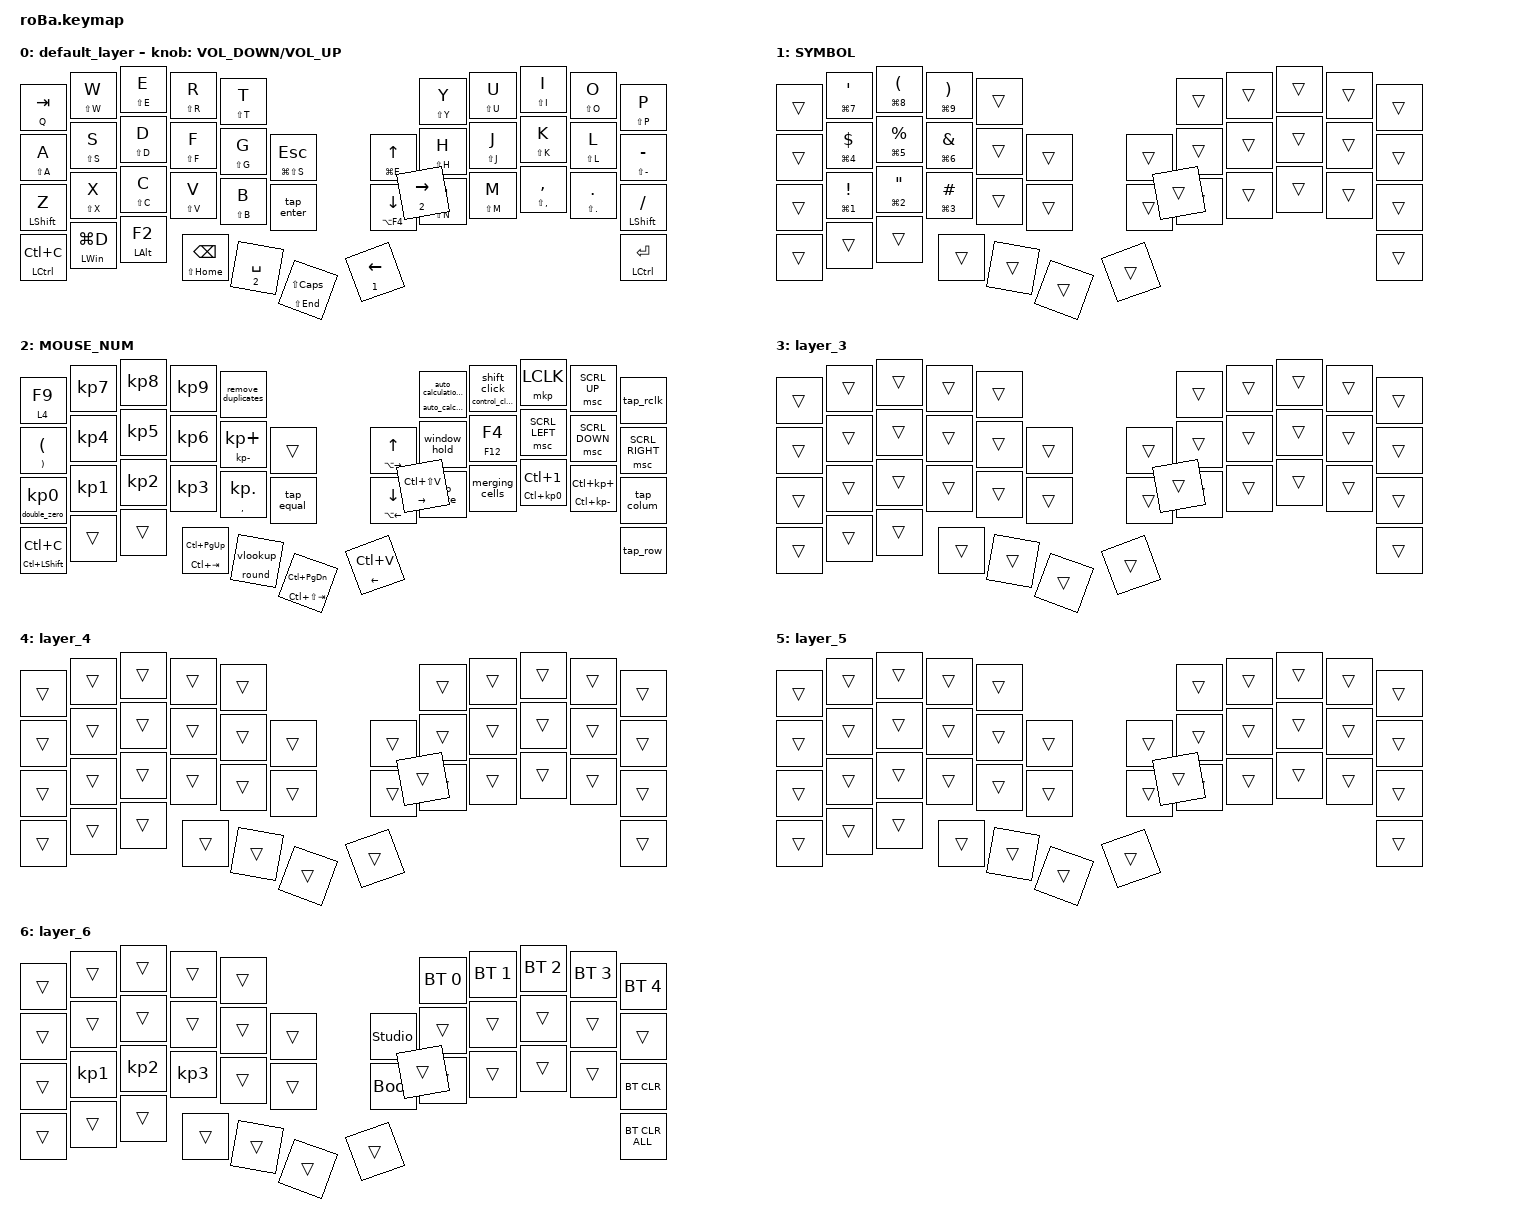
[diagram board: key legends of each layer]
#define ZMK_POINTING_DEFAULT_SCRL_VAL 40

#include <dt-bindings/zmk/mouse.h>
#include <input/processors.dtsi>
#include <behaviors.dtsi>
#include <dt-bindings/zmk/bt.h>
#include <dt-bindings/zmk/keys.h>
#include <dt-bindings/zmk/pointing.h>

#define MOUSE 3
#define SCROLL 4

&mt {
    flavor = "balanced";
    quick-tap-ms = <200>;
    tapping-term-ms = <400>;
};

/ {
    combos {
        compatible = "zmk,combos";

        delete {
            bindings = <&mt_exit_AML_on_hold BACKSPACE DELETE>;
            key-positions = <8 9>;
            layers = <0 2 1>;
        };

        language {
            bindings = <&mt LA(LS(CAPSLOCK)) LS(CAPSLOCK)>;
            key-positions = <0 1>;
            layers = <0 1>;
        };

        f7 {
            bindings = <&kp F7>;
            key-positions = <8 7 9>;
            layers = <0>;
        };

        backslash {
            bindings = <&mt LS(BACKSLASH) BACKSLASH>;
            key-positions = <8 7>;
            layers = <0>;
        };

        at_tilde {
            bindings = <&mt TILDE AT_SIGN>;
            key-positions = <20 19>;
            layers = <0>;
        };

        left_bracket {
            bindings = <&mt LS(LEFT_BRACKET) LEFT_BRACKET>;
            key-positions = <20 21>;
            layers = <0>;
        };

        right_braclet {
            bindings = <&mt LS(RIGHT_BRACKET) RIGHT_BRACKET>;
            key-positions = <32 33>;
            layers = <0>;
        };

        colom_semi {
            bindings = <&mt SEMICOLON COLON>;
            key-positions = <32 31>;
            layers = <0>;
        };

        num_slash {
            bindings = <&kp KP_SLASH>;
            key-positions = <1 2>;
            layers = <2>;
        };

        num_asterisk {
            bindings = <&kp KP_ASTERISK>;
            key-positions = <3 2>;
            layers = <2>;
        };

        num_numlock {
            bindings = <&mt KP_NUMLOCK DELETE>;
            key-positions = <1 0>;
            layers = <2>;
        };
    };

    macros {
        to_layer_0: to_layer_0 {
            compatible = "zmk,behavior-macro-one-param";
            #binding-cells = <1>;
            bindings = <&to 0 &macro_param_1to1 &kp MACRO_PLACEHOLDER>;
            label = "TO_LAYER_0";
        };

        exit_AML: exit_AML {
            compatible = "zmk,behavior-macro";
            wait-ms = <0>;
            tap-ms = <0>;
            #binding-cells = <0>;
            bindings = <&tog_off MOUSE>;
            label = "exit_AML";
        };

        kp_exit_AML: kp_exit_AML {
            compatible = "zmk,behavior-macro-one-param";
            wait-ms = <0>;
            tap-ms = <0>;
            #binding-cells = <1>;
            bindings = <&macro_param_1to1 &kp MACRO_PLACEHOLDER &exit_AML>;
            label = "KP_exit_AML";
        };

        mod_exit_AML: mod_exit_AML {
            compatible = "zmk,behavior-macro-one-param";
            wait-ms = <0>;
            tap-ms = <0>;
            #binding-cells = <1>;
            bindings =
                <&macro_press>,
                <&macro_param_1to1 &kp MACRO_PLACEHOLDER>,
                <&macro_tap>,
                <&exit_AML>,
                <&macro_pause_for_release>,
                <&macro_release>,
                <&macro_param_1to1 &kp MACRO_PLACEHOLDER>;

            label = "MOD_exit_AML";
        };

        mo_exit_AML: mo_exit_AML {
            compatible = "zmk,behavior-macro-one-param";
            wait-ms = <0>;
            tap-ms = <0>;
            #binding-cells = <1>;
            bindings =
                <&macro_press>,
                <&macro_param_1to1 &mo MACRO_PLACEHOLDER>,
                <&macro_tap>,
                <&exit_AML>,
                <&macro_pause_for_release>,
                <&macro_release>,
                <&macro_param_1to1 &mo MACRO_PLACEHOLDER>,
                <&macro_tap>;

            label = "MO_exit_AML";
        };

        shift_click: shift_crick {
            compatible = "zmk,behavior-macro";
            #binding-cells = <0>;
            bindings =
                <&macro_press>,
                <&kp LEFT_SHIFT>,
                <&macro_tap>,
                <&mkp LCLK>,
                <&macro_release>,
                <&kp LEFT_SHIFT>;

            label = "SHIFT_CRICK";
        };

        control_click: contolor_click {
            compatible = "zmk,behavior-macro";
            #binding-cells = <0>;
            bindings =
                <&macro_press>,
                <&kp LEFT_CONTROL &mkp LCLK>,
                <&macro_pause_for_release>,
                <&macro_release>,
                <&kp LEFT_CONTROL &mkp LCLK>;

            label = "CONTOLOR_CLICK";
        };

        remove_duplicates: choufuku {
            compatible = "zmk,behavior-macro";
            #binding-cells = <0>;
            bindings = <&kp LEFT_ALT &kp A &kp M>;
            label = "CHOUFUKU";
        };

        window_hold: window_hold {
            compatible = "zmk,behavior-macro";
            #binding-cells = <0>;
            bindings = <&kp LEFT_ALT &kp W &kp F &kp F>;
            label = "WINDOW_HOLD";
        };

        merging_cells: merging_cells {
            compatible = "zmk,behavior-macro";
            #binding-cells = <0>;
            bindings = <&kp LEFT_ALT &kp H &kp M &kp C>;
            label = "MERGING_CELLS";
        };

        sum: sum {
            compatible = "zmk,behavior-macro";
            #binding-cells = <0>;
            bindings = <&kp LEFT_ALT &kp M &kp U &kp S>;
            label = "SUM";
        };

        round: round {
            compatible = "zmk,behavior-macro";
            #binding-cells = <0>;
            bindings = <&kp EQUAL &kp R &kp O &kp U &kp N &kp D &kp LEFT_PARENTHESIS &kp LEFT_PARENTHESIS>;
            label = "ROUND";
        };

        paste_formulas_only: paste_formulas_only {
            compatible = "zmk,behavior-macro";
            #binding-cells = <0>;
            bindings = <&kp LA(E) &kp S &kp F &kp ENTER>;
            label = "PASTE_FORMULAS_ONLY";
        };

        transpose_and_paste: transpose_and_paste {
            compatible = "zmk,behavior-macro";
            #binding-cells = <0>;
            bindings = <&kp LA(E) &kp S &kp E &kp V &kp ENTER>;
            label = "TRANSPOSE_AND_PASTE";
        };

        paste_memo_only: paste_memo_only {
            compatible = "zmk,behavior-macro";
            #binding-cells = <0>;
            bindings = <&kp LA(E) &kp S &kp C &kp ENTER>;
            label = "PASTE_MEMO_ONLY";
        };

        auto_calculation: auto_calculation {
            compatible = "zmk,behavior-macro";
            #binding-cells = <0>;
            bindings = <&kp LEFT_ALT &kp M &kp X &kp A>;
            label = "AUTO_CALCULATION";
        };

        auto_calculation_off: auto_calculation_off {
            compatible = "zmk,behavior-macro";
            #binding-cells = <0>;
            bindings = <&kp LEFT_ALT &kp M &kp X &kp M>;
            label = "AUTO_CALCULATION_OFF";
        };

        double_zero: double_zero {
            compatible = "zmk,behavior-macro";
            #binding-cells = <0>;
            bindings = <&kp KP_NUMBER_0 &kp KP_NUMBER_0>;
            label = "DOUBLE_ZERO";
        };

        row_plus: row_plus {
            compatible = "zmk,behavior-macro";
            #binding-cells = <0>;
            bindings = <&kp LS(SPACE) &kp LC(KP_PLUS)>;
            label = "ROW_PLUS";
        };

        row_minus: row_minus {
            compatible = "zmk,behavior-macro";
            #binding-cells = <0>;
            bindings = <&kp LS(SPACE) &kp LC(KP_MINUS)>;
            label = "ROW_MINUS";
        };

        colum_plus: colum_plus {
            compatible = "zmk,behavior-macro";
            #binding-cells = <0>;
            bindings = <&kp LC(SPACE) &kp LC(KP_PLUS)>;
            label = "COLUM_PLUS";
        };

        colum_minus: colum_minus {
            compatible = "zmk,behavior-macro";
            #binding-cells = <0>;
            bindings = <&kp LC(SPACE) &kp LC(KP_MINUS)>;
            label = "COLUM_MINUS";
        };

        row_copy: row_copy {
            compatible = "zmk,behavior-macro";
            #binding-cells = <0>;
            bindings = <&kp LS(SPACE) &kp LC(C)>;
            label = "ROW_COPY";
        };

        row_cut: row_cut {
            compatible = "zmk,behavior-macro";
            #binding-cells = <0>;
            bindings = <&kp LS(SPACE) &kp LC(X)>;
            label = "ROW_CUT";
        };

        colum_copy: colum_copy {
            compatible = "zmk,behavior-macro";
            #binding-cells = <0>;
            bindings = <&kp LC(SPACE) &kp LC(C)>;
            label = "COLUM_COPY";
        };

        colum_cut: colum_cut {
            compatible = "zmk,behavior-macro";
            #binding-cells = <0>;
            bindings = <&kp LC(SPACE) &kp LC(C)>;
            label = "COLUM_CUT";
        };

        row_group_on: row_group_on {
            compatible = "zmk,behavior-macro";
            #binding-cells = <0>;
            bindings = <&kp LS(SPACE) &kp LA(LS(RIGHT_ARROW))>;
            label = "ROW_GROUP_ON";
        };

        row_group_off: row_group_off {
            compatible = "zmk,behavior-macro";
            #binding-cells = <0>;
            bindings = <&kp LS(SPACE) &kp LA(LS(LEFT_ARROW))>;
            label = "ROW_GROUP_OFF";
        };

        colum_group_on: new_macro {
            compatible = "zmk,behavior-macro";
            #binding-cells = <0>;
            bindings = <&kp LC(SPACE) &kp LA(LS(RIGHT_ARROW))>;
            label = "NEW_MACRO";
        };

        colum_group_off: colum_group_off {
            compatible = "zmk,behavior-macro";
            #binding-cells = <0>;
            bindings = <&kp LC(SPACE) &kp LA(LS(LEFT_ARROW))>;
            label = "COLUM_GROUP_OFF";
        };

        name_change: name_change {
            compatible = "zmk,behavior-macro";
            #binding-cells = <0>;
            bindings = <&mkp LCLK &kp F2>;
            label = "NAME_CHANGE";
        };

        sumproduct: sumproduct {
            compatible = "zmk,behavior-macro";
            #binding-cells = <0>;
            bindings = <&kp EQUAL &kp S &kp U &kp M &kp P &kp R &kp O &kp D &kp U &kp C &kp T &kp LEFT_PARENTHESIS>;
            label = "SUMPRODUCT";
        };

        vlookup: vlookup {
            compatible = "zmk,behavior-macro";
            #binding-cells = <0>;
            bindings = <&kp EQUAL &kp I &kp F &kp N &kp A &kp LEFT_PARENTHESIS &kp V &kp L &kp O &kp O &kp K &kp U &kp P &kp LEFT_PARENTHESIS>;
            label = "VLOOKUP";
        };
    };

    behaviors {
        lt_to_layer_0: lt_to_layer_0 {
            compatible = "zmk,behavior-hold-tap";
            #binding-cells = <2>;
            bindings = <&mo>, <&to_layer_0>;

            tapping-term-ms = <200>;
        };

        ROTATE: ROTATE {
            compatible = "zmk,behavior-sensor-rotate-var";
            label = "ROTATE";
            #sensor-binding-cells = <2>;
            bindings = <&msc>, <&msc>;

            tap-ms = <20>;
        };

        sl_250: sl_250 {
            compatible = "zmk,behavior-sticky-key";
            bindings = <&mo>;
            #binding-cells = <1>;
            release-after-ms = <250>;
        };

        tog_off: toggle_layer_off {
            compatible = "zmk,behavior-toggle-layer";
            #binding-cells = <1>;
            toggle-mode = "off";
        };

        lt_exit_AML_on_hold: lt_exit_AML_on_hold {
            compatible = "zmk,behavior-hold-tap";
            bindings = <&mo_exit_AML>, <&kp>;

            #binding-cells = <2>;
            tapping-term-ms = <200>;
            quick-tap-ms = <200>;
            flavor = "balanced";
        };

        mt_exit_AML_on_hold: mt_exit_AML_on_hold {
            compatible = "zmk,behavior-hold-tap";
            bindings = <&mod_exit_AML>, <&kp>;

            #binding-cells = <2>;
            tapping-term-ms = <200>;
            flavor = "balanced";
            quick-tap-ms = <200>;
        };

        ht_shiftclick_controlclick: ht_shiftclick_controlclick {
            compatible = "zmk,behavior-hold-tap";
            bindings = <&control_click>, <&shift_click>;

            #binding-cells = <2>;
            tapping-term-ms = <200>;
            quick-tap-ms = <200>;
            flavor = "balanced";
        };

        ht_calculation_on_off: ht_calculation_on_off {
            compatible = "zmk,behavior-hold-tap";
            bindings = <&auto_calculation>, <&auto_calculation_off>;

            #binding-cells = <2>;
            tapping-term-ms = <200>;
            quick-tap-ms = <200>;
            flavor = "balanced";
        };

        ht_row_copy_cut: ht_row_copy_cut {
            compatible = "zmk,behavior-hold-tap";
            bindings = <&row_cut>, <&row_copy>;

            #binding-cells = <2>;
            tapping-term-ms = <200>;
            quick-tap-ms = <200>;
            flavor = "balanced";
        };

        ht_colum_copy_cut: ht_colum_copy_cut {
            compatible = "zmk,behavior-hold-tap";
            bindings = <&colum_cut>, <&colum_copy>;

            #binding-cells = <2>;
            tapping-term-ms = <200>;
            quick-tap-ms = <200>;
            flavor = "balanced";
        };

        ht_row_plus_minus: ht_row_plus_minus {
            compatible = "zmk,behavior-hold-tap";
            bindings = <&row_minus>, <&row_plus>;

            #binding-cells = <2>;
            tapping-term-ms = <200>;
            quick-tap-ms = <200>;
            flavor = "balanced";
        };

        ht_colum_plus_minus: ht_colum_plus_minus {
            compatible = "zmk,behavior-hold-tap";
            bindings = <&colum_minus>, <&colum_plus>;

            #binding-cells = <2>;
            tapping-term-ms = <200>;
            quick-tap-ms = <200>;
            flavor = "balanced";
        };

        ht_row_group: ht_row_group {
            compatible = "zmk,behavior-hold-tap";
            bindings = <&row_group_off>, <&row_group_on>;

            #binding-cells = <2>;
            tapping-term-ms = <200>;
            quick-tap-ms = <200>;
            flavor = "balanced";
            label = "HT_ROW_GROUP";
        };

        ht_colum_group: ht_colum_group {
            compatible = "zmk,behavior-hold-tap";
            bindings = <&colum_group_off>, <&colum_group_on>;

            #binding-cells = <2>;
            tapping-term-ms = <200>;
            quick-tap-ms = <200>;
            flavor = "balanced";
            label = "HT_COLUM_GROUP";
        };

        ht_vlookup_round: ht_vlookup_round {
            compatible = "zmk,behavior-hold-tap";
            bindings = <&round>, <&vlookup>;

            #binding-cells = <2>;
            tapping-term-ms = <200>;
            quick-tap-ms = <200>;
            flavor = "balanced";
            label = "HT_VLOOKUP_ROUND";
        };

        tap_row: tap_row {
            compatible = "zmk,behavior-tap-dance";
            #binding-cells = <0>;
            bindings =
                <&ht_row_copy_cut 0 0>,
                <&ht_row_plus_minus 0 0>,
                <&ht_row_group 0 0>;

            tapping-term-ms = <250>;
        };

        tap_colum: tap_colum {
            compatible = "zmk,behavior-tap-dance";
            #binding-cells = <0>;
            bindings =
                <&ht_colum_copy_cut 0 0>,
                <&ht_colum_plus_minus 0 0>,
                <&ht_colum_group 0 0>;

            tapping-term-ms = <250>;
        };

        tap_paste: tap_paste {
            compatible = "zmk,behavior-tap-dance";
            #binding-cells = <0>;
            bindings =
                <&paste_formulas_only>,
                <&transpose_and_paste>,
                <&paste_memo_only>;

            tapping-term-ms = <250>;
        };

        tap_equal: tap_equal {
            compatible = "zmk,behavior-tap-dance";
            #binding-cells = <0>;
            bindings = <&kp EQUAL>, <&sum>, <&sumproduct>;

            tapping-term-ms = <250>;
        };

        tap_enter: tap_enter {
            compatible = "zmk,behavior-tap-dance";
            #binding-cells = <0>;
            bindings = <&lt 6 LS(ENTER)>, <&kp LA(ENTER)>;

            tapping-term-ms = <250>;
            label = "TAP_ENTER";
        };

        ht_doublezero_kp: ht_doublezero_kp {
            compatible = "zmk,behavior-hold-tap";
            bindings = <&double_zero>, <&kp>;

            #binding-cells = <2>;
            tapping-term-ms = <200>;
            quick-tap-ms = <200>;
            flavor = "balanced";
            label = "HT_DOUBLEZERO_KP";
        };

        tap_rclk: tap_rclk {
            compatible = "zmk,behavior-tap-dance";
            #binding-cells = <0>;
            bindings = <&mkp RCLK>, <&name_change>;

            tapping-term-ms = <250>;
            label = "TAP_RCLK";
        };
    };

    keymap {
        compatible = "zmk,keymap";

        default_layer {
            bindings = <
&mt Q TAB                                &mt LS(W) W                          &mt LS(E) E                       &mt LS(R) R                              &mt LS(T) T                                                                                                     &mt LS(Y) Y                         &mt LS(U) U  &mt LS(I) I          &mt LS(O) O         &mt LS(P) P
&mt LS(A) A                              &mt LS(S) S                          &mt LS(D) D                       &mt LS(F) F                              &mt LS(G) G                   &mt LG(LS(S)) ESCAPE                           &mt LG(E) UP_ARROW                 &mt LS(H) H                         &mt LS(J) J  &mt LS(K) K          &mt LS(L) L         &mt LS(MINUS) MINUS
&mt LEFT_SHIFT Z                         &mt LS(X) X                          &mt LS(C) C                       &mt LS(V) V                              &mt LS(B) B                   &tap_enter                                     &mt LA(F4) DOWN_ARROW              &mt LS(N) N                         &mt LS(M) M  &mt LS(COMMA) COMMA  &mt LS(DOT) PERIOD  &mt LEFT_SHIFT SLASH
&mt_exit_AML_on_hold LEFT_CONTROL LC(C)  &mt_exit_AML_on_hold LEFT_WIN LG(D)  &mt_exit_AML_on_hold LEFT_ALT F2  &mt_exit_AML_on_hold LS(HOME) BACKSPACE  &lt_exit_AML_on_hold 2 SPACE  &mt_exit_AML_on_hold LS(END) LS(CAPSLOCK)      &lt_exit_AML_on_hold 1 LEFT_ARROW  &lt_exit_AML_on_hold 2 RIGHT_ARROW                                                        &mt_exit_AML_on_hold LEFT_CONTROL ENTER
            >;

            sensor-bindings = <&inc_dec_kp K_VOLUME_DOWN K_VOLUME_UP>;
        };

        SYMBOL {
            bindings = <
&trans  &mt LG(NUMBER_7) APOSTROPHE   &mt LG(NUMBER_8) LEFT_PARENTHESIS  &mt LG(NUMBER_9) RIGHT_PARENTHESIS  &trans                      &trans  &trans  &trans  &trans  &trans
&trans  &mt LG(NUMBER_4) DOLLAR       &mt LG(NUMBER_5) PERCENT           &mt LG(NUMBER_6) AMPERSAND          &trans  &trans      &trans  &trans  &trans  &trans  &trans  &trans
&trans  &mt LG(NUMBER_1) EXCLAMATION  &mt LG(NUMBER_2) DOUBLE_QUOTES     &mt LG(NUMBER_3) POUND              &trans  &trans      &trans  &trans  &trans  &trans  &trans  &trans
&trans  &trans                        &trans                             &trans                              &trans  &trans      &trans  &trans                          &trans
            >;
        };

        MOUSE_NUM {
            bindings = <
&lt 4 F9                                &kp KP_NUMBER_7  &kp KP_NUMBER_8  &kp KP_NUMBER_9          &remove_duplicates                                                                       &ht_calculation_on_off 0 0  &ht_shiftclick_controlclick 0 0  &mkp LCLK                         &msc SCRL_UP                  &tap_rclk
&mt RIGHT_PARENTHESIS LEFT_PARENTHESIS  &kp KP_NUMBER_4  &kp KP_NUMBER_5  &kp KP_NUMBER_6          &mt KP_MINUS KP_PLUS   &trans                             &mt LA(RIGHT_ARROW) UP_ARROW   &window_hold                &mt F12 F4                       &msc SCRL_LEFT                    &msc SCRL_DOWN                &msc SCRL_RIGHT
&ht_doublezero_kp 0 KP_NUMBER_0         &kp KP_NUMBER_1  &kp KP_NUMBER_2  &kp KP_NUMBER_3          &mt COMMA KP_DOT       &tap_equal                         &mt LA(LEFT_ARROW) DOWN_ARROW  &tap_paste                  &merging_cells                   &mt LC(KP_NUMBER_0) LC(NUMBER_1)  &mt LC(KP_MINUS) LC(KP_PLUS)  &tap_colum
&mt LC(LEFT_SHIFT) LC(C)                &trans           &trans           &mt LC(TAB) LC(PAGE_UP)  &ht_vlookup_round 0 0  &mt LC(LS(TAB)) LC(PAGE_DOWN)      &mt LEFT_ARROW LC(V)           &mt RIGHT_ARROW LC(LS(V))                                                                                                    &tap_row
            >;
        };

        layer_3 {
            bindings = <
&trans  &trans  &trans  &trans  &trans                      &trans  &trans  &trans  &trans  &trans
&trans  &trans  &trans  &trans  &trans  &trans      &trans  &trans  &trans  &trans  &trans  &trans
&trans  &trans  &trans  &trans  &trans  &trans      &trans  &trans  &trans  &trans  &trans  &trans
&trans  &trans  &trans  &trans  &trans  &trans      &trans  &trans                          &trans
            >;
        };

        layer_4 {
            bindings = <
&trans  &trans  &trans  &trans  &trans                      &trans  &trans  &trans  &trans  &trans
&trans  &trans  &trans  &trans  &trans  &trans      &trans  &trans  &trans  &trans  &trans  &trans
&trans  &trans  &trans  &trans  &trans  &trans      &trans  &trans  &trans  &trans  &trans  &trans
&trans  &trans  &trans  &trans  &trans  &trans      &trans  &trans                          &trans
            >;
        };

        layer_5 {
            bindings = <
&trans  &trans  &trans  &trans  &trans                      &trans  &trans  &trans  &trans  &trans
&trans  &trans  &trans  &trans  &trans  &trans      &trans  &trans  &trans  &trans  &trans  &trans
&trans  &trans  &trans  &trans  &trans  &trans      &trans  &trans  &trans  &trans  &trans  &trans
&trans  &trans  &trans  &trans  &trans  &trans      &trans  &trans                          &trans
            >;
        };

        layer_6 {
            bindings = <
&trans  &trans           &trans           &trans           &trans                              &bt BT_SEL 0  &bt BT_SEL 1  &bt BT_SEL 2  &bt BT_SEL 3  &bt BT_SEL 4
&trans  &trans           &trans           &trans           &trans  &trans      &studio_unlock  &trans        &trans        &trans        &trans        &trans
&trans  &kp KP_NUMBER_1  &kp KP_NUMBER_2  &kp KP_NUMBER_3  &trans  &trans      &bootloader     &trans        &trans        &trans        &trans        &bt BT_CLR
&trans  &trans           &trans           &trans           &trans  &trans      &trans          &trans                                                  &bt BT_CLR_ALL
            >;
        };
    };
};
